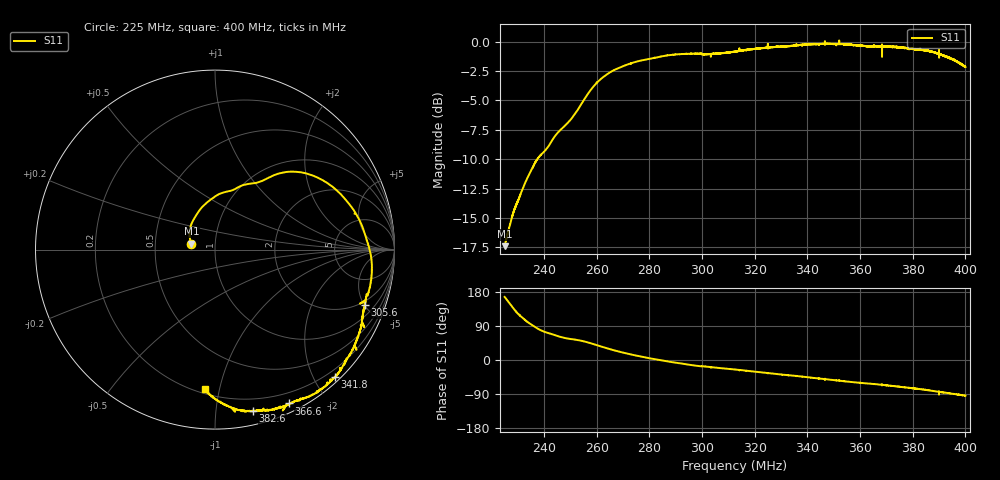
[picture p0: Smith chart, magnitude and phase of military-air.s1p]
! Calibrated averaged scanner-service zoom
# Hz S RI R 50
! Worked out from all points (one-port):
!   10001 points, 225 MHz to 400 MHz, reference 50 ohm
!   lowest |S11| = -17.4 dB at 225 MHz (marker M1), VSWR 1.31, Z = 38.3 + j2.51 ohm
!   |S11| at or under -10 dB: start of sweep to 237.4 MHz
!   S11 on the Smith chart (normalised r, x): 225 MHz: 0.77, +0.05; 305.6 MHz: 1.69, -5.01; 341.8 MHz: 0.08, -2.31; 366.6 MHz: 0.09, -1.59; 382.6 MHz: 0.10, -1.26; 400 MHz: 0.23, -0.90
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2.25e8  -0.1314 0.0318
2.250175e8  -0.1312 0.0322
2.2878e8  -0.1309 0.1427
2.3249e8  -0.0726 0.2355
2.356225e8  -0.00649 0.2912
2.391225e8  0.0747 0.3251
2.46875e8  0.2162 0.3696
2.5307e8  0.3184 0.4102
2.5594e8  0.3927 0.4319
2.58425e8  0.4691 0.4321
2.637975e8  0.6207 0.3742
2.6875e8  0.7211 0.2856
2.73125e8  0.7842 0.2017
2.77535e8  0.8262 0.1142
2.8499e8  0.8661 -0.0213
2.90625e8  0.8733 -0.1222
2.98115e8  0.8555 -0.2351
3.0564e8  0.8337 -0.3096
3.125e8  0.8211 -0.3843
3.24155e8  0.7815 -0.5236
3.34375e8  0.7218 -0.632
3.4176e8  0.6684 -0.7097
3.5625e8  0.5201 -0.8212
3.665925e8  0.4121 -0.8572
3.78125e8  0.2729 -0.8955
3.826225e8  0.2117 -0.901
3.90725e8  0.081 -0.8759
4e8  -0.0571 -0.7774
